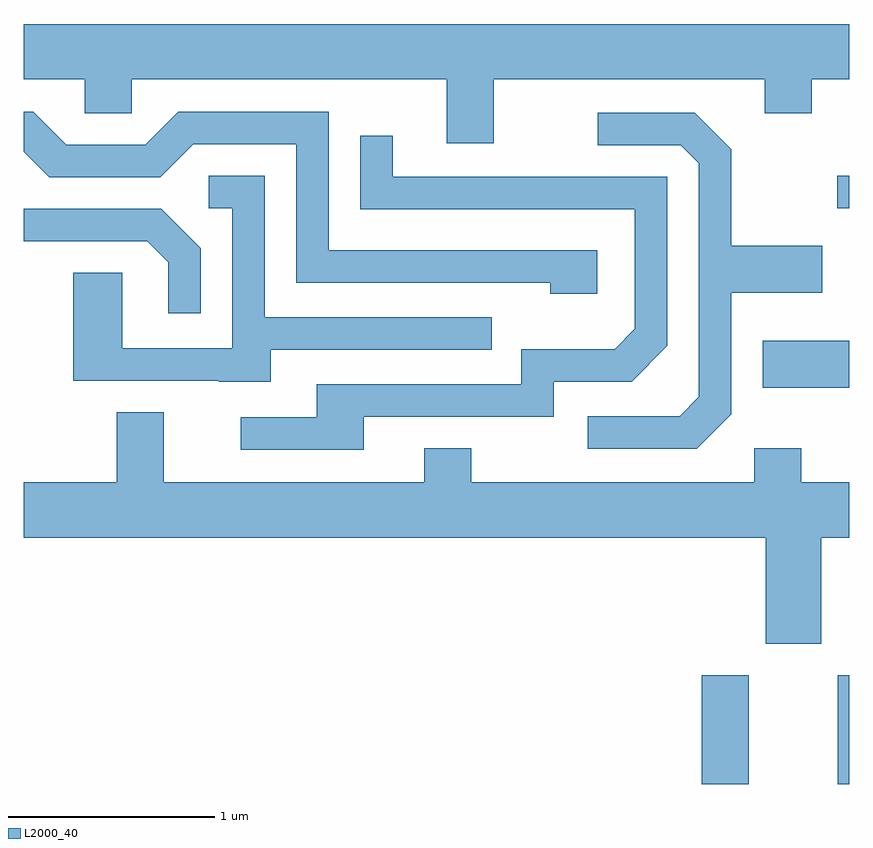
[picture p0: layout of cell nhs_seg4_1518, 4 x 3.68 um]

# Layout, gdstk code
import gdstk
lib = gdstk.Library(unit=1e-6, precision=1e-09)
def R(c, l, rs):  # rectangles x0, y0, x1, y1
    for r in rs: c.add(gdstk.rectangle(r[:2], r[2:], *l))
def P(c, l, *ps):  # polygons
    for p in ps: c.add(gdstk.Polygon(p, *l))
L2000_40 = (2000, 40)

nhs_seg4_1518 = lib.new_cell('nhs_seg4_1518')
R(nhs_seg4_1518, L2000_40, [(232.896,1297.982,233.124,1298.509), (233.556,1297.982,233.611,1298.509), (233.191,1299.901,233.611,1300.129), (233.553,1300.771,233.611,1300.929)])
P(nhs_seg4_1518, L2000_40, [(231.889,1301.396),(233.201,1301.396),(233.201,1301.231),(233.429,1301.231),(233.429,1301.396),(233.611,1301.396),(233.611,1301.664),(229.611,1301.664),(229.611,1301.396),(229.906,1301.396),(229.906,1301.231),(230.134,1301.231),(230.134,1301.396),(231.661,1301.396),(231.661,1301.086),(231.889,1301.086)],
  [(232.389,1300.569),(231.089,1300.569),(231.089,1301.239),(230.359,1301.239),(230.199,1301.079),(229.817,1301.079),(229.657,1301.239),(229.611,1301.239),(229.611,1301.044),(229.734,1300.921),(230.272,1300.921),(230.432,1301.081),(230.931,1301.081),(230.931,1300.411),(232.161,1300.411),(232.161,1300.356),(232.389,1300.356)],
  [(233.039,1299.774),(233.039,1300.361),(233.479,1300.361),(233.479,1300.589),(233.039,1300.589),(233.039,1301.057),(232.862,1301.234),(232.393,1301.234),(232.393,1301.076),(232.794,1301.076),(232.881,1300.989),(232.881,1299.857),(232.789,1299.764),(232.343,1299.764),(232.343,1299.606),(232.872,1299.606)],
  [(231.259,1299.761),(232.179,1299.761),(232.179,1299.931),(232.557,1299.931),(232.729,1300.104),(232.729,1300.924),(231.399,1300.924),(231.399,1301.123),(231.241,1301.123),(231.241,1300.766),(232.571,1300.766),(232.571,1300.187),(232.474,1300.089),(232.021,1300.089),(232.021,1299.919),(231.031,1299.919),(231.031,1299.759),(230.663,1299.759),(230.663,1299.601),(231.259,1299.601)],
  [(230.809,1300.086),(231.878,1300.086),(231.878,1300.244),(230.779,1300.244),(230.779,1300.929),(230.508,1300.929),(230.508,1300.771),(230.621,1300.771),(230.621,1300.094),(230.089,1300.094),(230.089,1300.459),(229.851,1300.459),(229.851,1299.936),(230.555,1299.936),(230.555,1299.931),(230.809,1299.931)],
  [(230.469,1300.577),(230.277,1300.769),(229.611,1300.769),(229.611,1300.611),(230.209,1300.611),(230.311,1300.509),(230.311,1300.263),(230.469,1300.263)],
  [(233.474,1299.176),(233.611,1299.176),(233.611,1299.444),(233.379,1299.444),(233.379,1299.609),(233.151,1299.609),(233.151,1299.444),(231.779,1299.444),(231.779,1299.609),(231.551,1299.609),(231.551,1299.444),(230.289,1299.444),(230.289,1299.784),(230.061,1299.784),(230.061,1299.444),(229.611,1299.444),(229.611,1299.176),(233.206,1299.176),(233.206,1298.661),(233.474,1298.661)])

lib.write_gds('nhs_seg4_1518.gds')
